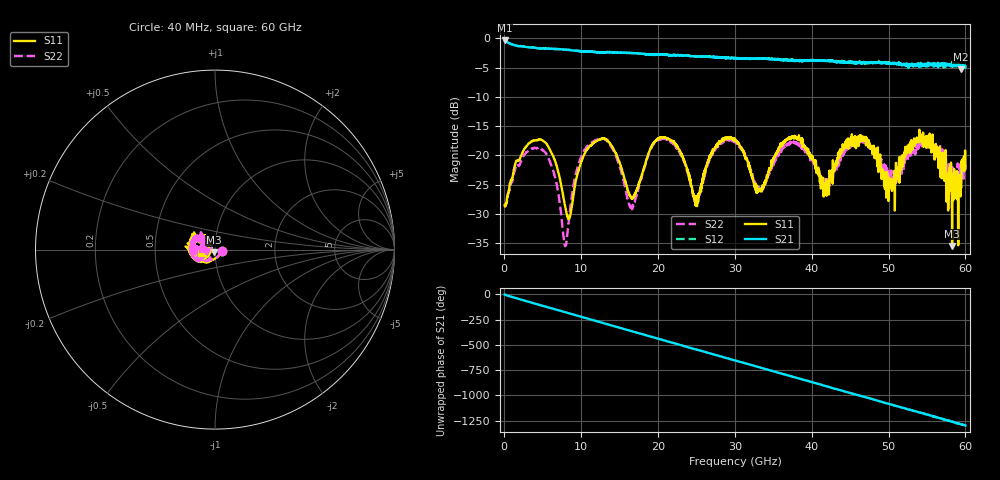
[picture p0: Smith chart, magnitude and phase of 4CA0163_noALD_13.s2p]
! File created by 'SoftPlot +Plus+ Measurement Management Software'
! SoftPlot +Plus+ Measurement Management Software
! Start 40.000000 MHz  Stop 60.000000 GHz  Points 1601
# MHZ S RI R 50
! S-Parameter data, F S11 S21 S12 S22
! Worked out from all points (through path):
!   1601 points, 40 MHz to 60 GHz, reference 50 ohm
!   highest |S21| = -0.37 dB at 40 MHz (marker M1); lowest = -5.3 dB at 59.4 GHz (marker M2)
!   group delay of S21, straight-line fit = 59.8 ps
!   lowest |S11| = -35.5 dB at 58.28 GHz (marker M3), VSWR 1.03, Z = 49.3 - j1.49 ohm
!   |S11| at or under -10 dB: start of sweep to end of sweep
!   |S22| runs from -35.5 to -16.9 dB; largest |S21 - S12| = 0.055
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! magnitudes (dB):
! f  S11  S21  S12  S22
! 40 MHz  -28.5  -0.4  -0.4  -28.4
! 4.724 GHz  -17.3  -1.7  -1.8  -18.8
! 6.523 GHz  -20.7  -1.8  -1.8  -23.3
! 7.947 GHz  -28.9  -1.9  -2.0  -35.4
! 10.05 GHz  -21.0  -2.2  -2.2  -20.2
! 13.34 GHz  -17.4  -2.4  -2.4  -17.5
! 16.57 GHz  -27.4  -2.5  -2.5  -29.0
! 20.05 GHz  -17.2  -2.8  -2.7  -17.3
! 22.64 GHz  -18.8  -2.9  -2.9  -19.1
! 25 GHz  -28.0  -3.1  -3.0  -28.5
! 27.36 GHz  -18.9  -3.3  -3.1  -19.2
! 30.02 GHz  -17.5  -3.3  -3.3  -17.7
! 33.09 GHz  -26.1  -3.5  -3.5  -25.5
! 36.84 GHz  -17.1  -3.8  -3.7  -18.0
! 40.03 GHz  -20.7  -3.7  -3.8  -20.7
! 41.79 GHz  -25.1  -3.9  -3.9  -24.9
! 46.58 GHz  -16.8  -4.2  -4.2  -17.7
! 50.03 GHz  -25.6  -4.3  -4.4  -23.9
! 54.19 GHz  -17.4  -4.2  -4.6  -17.9
! 58.28 GHz  -35.5  -4.7  -4.0  -22.5
! 59.4 GHz  -25.0  -5.3  -4.6  -25.3
! 60 GHz  -22.1  -4.9  -5.2  -22.6
